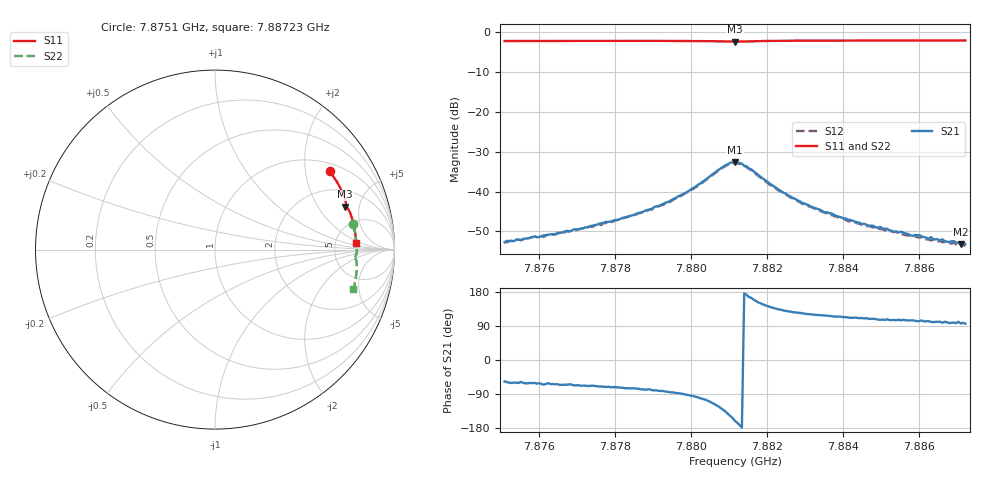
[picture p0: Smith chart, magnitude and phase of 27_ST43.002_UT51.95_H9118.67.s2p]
#  HZ  S  DB  R  50.00
! Rohde & Schwarz Vector Network Analyzer
! Rohde-Schwarz,ZNB20-2Port,1311601062101988,3.16
! Created: UTC 1/12/2023, 6:31:06 PM
! freq[Hz]  db:S11  ang:S11  db:S21  ang:S21  db:S12  ang:S12  db:S22  ang:S22
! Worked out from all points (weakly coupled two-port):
!   201 points, 7.8751 GHz to 7.88723 GHz, reference 50 ohm
!   highest |S21| = -32.63 dB at 7.88116 GHz (marker M1); lowest = -53.3 dB at 7.88711 GHz (marker M2)
!   lowest |S11| = -2.4 dB at 7.88116 GHz (marker M3), VSWR 7.36, Z = 157 + j178 ohm
!   |S11| at or under -10 dB: nowhere
!   |S22| runs from -2.2 to -1.9 dB; largest |S21 - S12| = 0.0018
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7.875097e9  -2.23 34.3  -52.75 -56.7  -52.56 -62.0  -2.13 10.3
7.876128e9  -2.21 31.5  -50.99 -65.0  -51.41 -66.0  -2.10 7.9
7.877159e9  -2.19 28.7  -49.30 -67.5  -49.24 -71.1  -2.08 5.5
7.877948e9  -2.18 26.5  -47.38 -71.6  -47.59 -74.9  -2.06 3.6
7.879161e9  -2.18 23.1  -43.60 -81.7  -43.72 -84.4  -2.04 0.8
7.880071e9  -2.20 20.5  -39.09 -95.5  -39.32 -98.8  -2.06 -1.5
7.88092e9  -2.34 18.3  -33.37 -137.0  -33.58 -140.3  -2.21 -3.3
7.881162e9  -2.37 18.3  -32.63 -160.9  -32.89 -163.2  -2.25 -3.3
7.881466e9  -2.32 18.2  -33.64 172.2  -33.89 168.5  -2.19 -3.2
7.882618e9  -2.15 15.0  -41.22 128.0  -41.51 124.1  -2.00 -5.8
7.883225e9  -2.13 13.3  -43.98 119.9  -44.16 116.6  -1.98 -7.2
7.884134e9  -2.11 10.9  -47.07 112.1  -47.44 109.1  -1.96 -9.3
7.885226e9  -2.09 8.0  -49.72 105.6  -50.08 102.4  -1.93 -11.8
7.885833e9  -2.09 6.4  -51.11 104.6  -51.12 101.8  -1.93 -13.1
7.886015e9  -2.09 5.9  -50.99 102.4  -51.60 100.1  -1.93 -13.5
7.886257e9  -2.08 5.3  -51.90 102.4  -52.07 97.5  -1.92 -14.0
7.886318e9  -2.09 5.1  -51.44 100.7  -52.28 99.2  -1.93 -14.1
7.88656e9  -2.08 4.5  -52.35 100.9  -52.48 95.9  -1.92 -14.6
7.886924e9  -2.08 3.5  -52.47 98.8  -52.80 96.1  -1.92 -15.4
7.887106e9  -2.08 3.0  -53.28 96.6  -53.62 94.2  -1.91 -15.8
7.887167e9  -2.07 2.9  -52.75 97.9  -53.51 95.7  -1.91 -16.0
7.887228e9  -2.08 2.7  -53.24 95.9  -53.64 95.1  -1.92 -16.1
